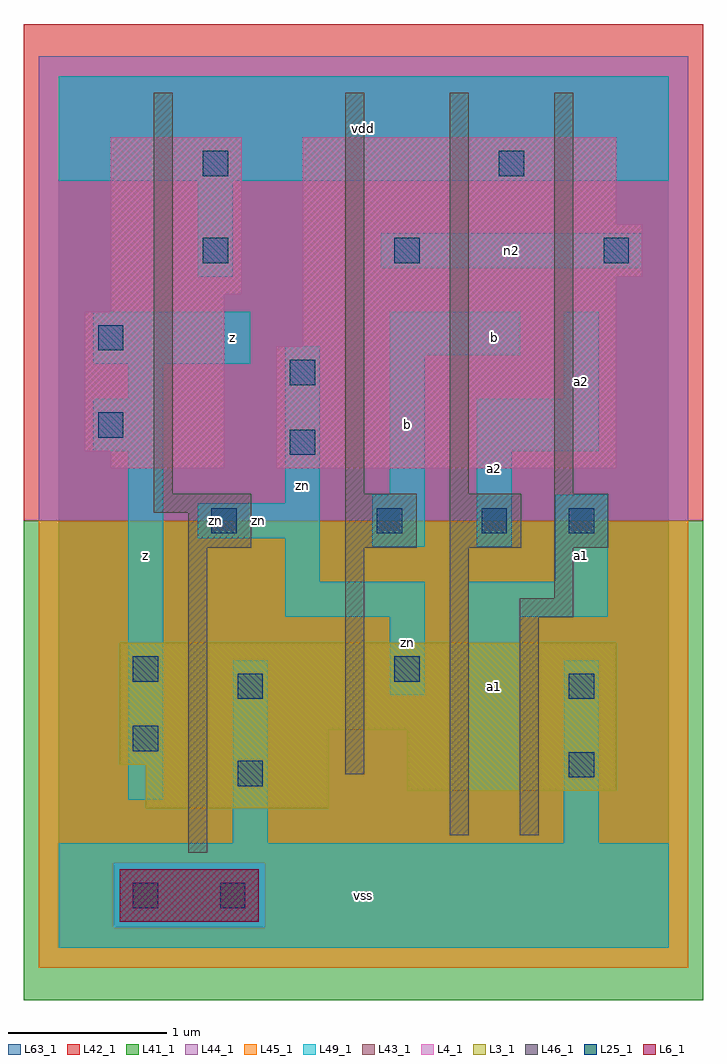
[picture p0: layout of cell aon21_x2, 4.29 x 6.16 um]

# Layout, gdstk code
import gdstk
lib = gdstk.Library(unit=1e-6, precision=1e-09)
def R(c, l, rs):  # rectangles x0, y0, x1, y1
    for r in rs: c.add(gdstk.rectangle(r[:2], r[2:], *l))
def A(c, l, x, y, w, h, nx, ny, dx, dy):  # array of equal rectangles
    R(c, l, [(x+i*dx, y+j*dy, x+i*dx+w, y+j*dy+h) for i in range(nx) for j in range(ny)])
L3_1 = (3, 1)
L4_1 = (4, 1)
L6_1 = (6, 1)
L25_1 = (25, 1)
L41_1 = (41, 1)
L42_1 = (42, 1)
L43_1 = (43, 1)
L44_1 = (44, 1)
L45_1 = (45, 1)
L46_1 = (46, 1)
L49_1 = (49, 1)
L63_1 = (63, 1)

aon21_x2 = lib.new_cell('aon21_x2')
R(aon21_x2, L3_1, [(0.55,0.88,1.705,1.155), (2.2,0.99,3.52,1.375), (0.385,1.155,1.705,1.375), (0.385,1.375,3.52,1.925)])
R(aon21_x2, L4_1, [(0.33,3.025,1.045,3.135), (1.375,3.025,3.52,3.795), (0.165,3.135,1.045,4.015), (1.54,3.795,3.52,4.235), (0.33,4.015,1.045,4.125), (0.33,4.125,1.155,5.115), (1.54,4.235,3.685,4.565), (1.54,4.565,3.52,5.115)])
R(aon21_x2, L6_1, [(0.385,0.165,1.265,0.495)])
R(aon21_x2, L25_1, [(0.47,0.25,0.63,0.41), (1.02,0.25,1.18,0.41), (1.13,1.02,1.29,1.18), (3.22,1.075,3.38,1.235), (0.47,1.24,0.63,1.4), (1.13,1.57,1.29,1.73), (3.22,1.57,3.38,1.73), (0.47,1.68,0.63,1.84), (2.12,1.68,2.28,1.84), (0.965,2.615,1.125,2.775), (2.01,2.615,2.17,2.775), (2.67,2.615,2.83,2.775), (3.22,2.615,3.38,2.775), (1.46,3.11,1.62,3.27), (0.25,3.22,0.41,3.38), (1.46,3.55,1.62,3.71), (0.25,3.77,0.41,3.93), (0.91,4.32,1.07,4.48), (2.12,4.32,2.28,4.48), (3.44,4.32,3.6,4.48), (0.91,4.87,1.07,5.03), (2.78,4.87,2.94,5.03)])
R(aon21_x2, L41_1, [(-0.22,-0.33,4.07,2.695)])
R(aon21_x2, L42_1, [(-0.22,2.695,4.07,5.83)])
R(aon21_x2, L43_1, [(0.385,0.165,1.265,0.495), (0.55,0.88,1.705,1.155), (2.2,0.99,3.52,1.375), (0.385,1.155,1.705,1.375), (0.385,1.375,3.52,1.925), (0.33,3.025,1.045,3.135), (1.375,3.025,3.52,3.795), (0.165,3.135,1.045,4.015), (1.54,3.795,3.52,4.235), (0.33,4.015,1.045,4.125), (0.33,4.125,1.155,5.115), (1.54,4.235,3.685,4.565), (1.54,4.565,3.52,5.115)])
R(aon21_x2, L44_1, [(0.345,0.125,1.305,0.535), (-0.125,2.695,3.975,5.625)])
R(aon21_x2, L45_1, [(-0.125,-0.125,3.975,0.125), (-0.125,0.125,0.345,0.535), (1.305,0.125,3.975,0.535), (-0.125,0.535,3.975,2.695)])
A(aon21_x2, L46_1, 1.81, 2.865, 0.12, 2.53, 3, 1, 0.66, 0)
R(aon21_x2, L46_1, [(0.82,0.6,0.94,2.525), (2.47,0.71,2.59,2.525), (2.91,0.71,3.03,2.085), (1.81,1.095,1.93,2.525), (2.91,2.085,3.25,2.205), (3.13,2.205,3.25,2.525), (0.82,2.525,1.215,2.745), (1.81,2.525,2.26,2.865), (2.47,2.525,2.92,2.865), (3.13,2.525,3.47,2.865), (0.6,2.745,1.215,2.865), (0.6,2.865,0.72,5.395)])
R(aon21_x2, L49_1, [(0,0,3.85,0.66), (1.1,0.66,1.32,1.815), (3.19,0.66,3.41,1.815), (0.44,0.935,0.66,3.135), (2.585,0.99,2.915,2.09), (2.09,1.595,2.31,2.09), (1.43,2.09,2.31,2.31), (2.585,2.09,3.465,2.31), (1.43,2.31,1.65,2.585), (3.135,2.31,3.465,2.86), (1.98,2.53,2.31,2.86), (2.64,2.53,2.86,3.135), (0.88,2.585,1.65,2.805), (1.43,2.805,1.65,3.795), (2.09,2.86,2.31,3.74), (0.22,3.135,0.66,3.465), (2.64,3.135,3.41,3.465), (0.44,3.465,0.66,3.685), (3.19,3.465,3.41,4.015), (0.22,3.685,1.21,4.015), (2.09,3.74,2.915,4.015), (0.88,4.235,1.1,4.84), (2.035,4.29,3.685,4.51), (0,4.84,3.85,5.5)])
R(aon21_x2, L63_1, [(0,0,3.85,5.5)])
aon21_x2.add(gdstk.Label('zn', (0.99,2.695), layer=49, texttype=1))
aon21_x2.add(gdstk.Label('z', (0.55,2.475), layer=49, texttype=1))
aon21_x2.add(gdstk.Label('z', (0.55,2.475), layer=49, texttype=1))
aon21_x2.add(gdstk.Label('zn', (1.54,2.915), layer=49, texttype=1))
aon21_x2.add(gdstk.Label('zn', (1.265,2.695), layer=49, texttype=1))
aon21_x2.add(gdstk.Label('z', (1.1,3.85), layer=49, texttype=1))
aon21_x2.add(gdstk.Label('z', (1.1,3.85), layer=49, texttype=1))
aon21_x2.add(gdstk.Label('vss', (1.925,0.33), layer=49, texttype=1))
aon21_x2.add(gdstk.Label('vss', (1.925,0.33), layer=49, texttype=1))
aon21_x2.add(gdstk.Label('zn', (2.2,1.925), layer=49, texttype=1))
aon21_x2.add(gdstk.Label('a1', (2.75,1.65), layer=49, texttype=1))
aon21_x2.add(gdstk.Label('a1', (2.75,1.65), layer=49, texttype=1))
aon21_x2.add(gdstk.Label('b', (2.75,3.85), layer=49, texttype=1))
aon21_x2.add(gdstk.Label('a2', (2.75,3.025), layer=49, texttype=1))
aon21_x2.add(gdstk.Label('b', (2.2,3.3), layer=49, texttype=1))
aon21_x2.add(gdstk.Label('b', (2.75,3.85), layer=49, texttype=1))
aon21_x2.add(gdstk.Label('b', (2.2,3.3), layer=49, texttype=1))
aon21_x2.add(gdstk.Label('a2', (2.75,3.025), layer=49, texttype=1))
aon21_x2.add(gdstk.Label('vdd', (1.925,5.17), layer=49, texttype=1))
aon21_x2.add(gdstk.Label('vdd', (1.925,5.17), layer=49, texttype=1))
aon21_x2.add(gdstk.Label('a1', (3.3,2.475), layer=49, texttype=1))
aon21_x2.add(gdstk.Label('a1', (3.3,2.475), layer=49, texttype=1))
aon21_x2.add(gdstk.Label('a2', (3.3,3.575), layer=49, texttype=1))
aon21_x2.add(gdstk.Label('a2', (3.3,3.575), layer=49, texttype=1))
aon21_x2.add(gdstk.Label('n2', (2.86,4.4), layer=49, texttype=1))

lib.write_gds('aon21_x2.gds')
